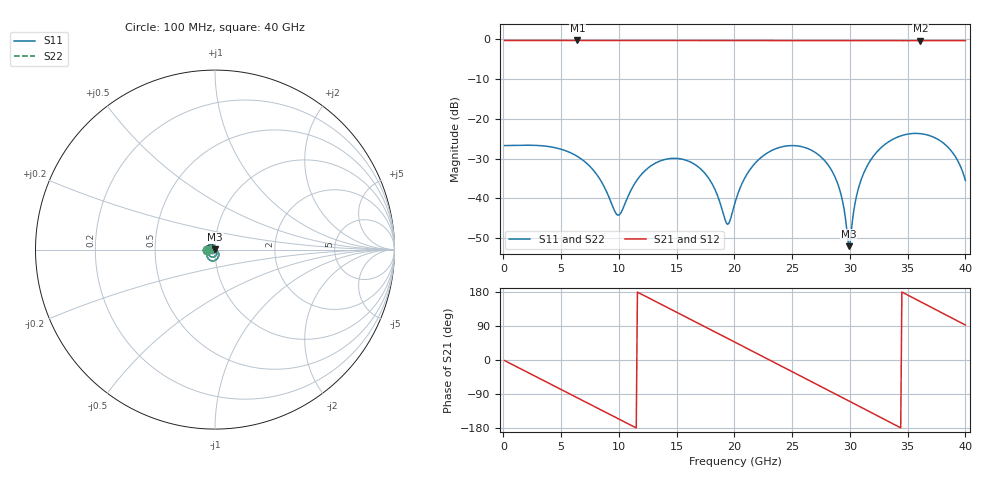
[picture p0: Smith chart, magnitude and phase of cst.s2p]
! thru_ts6_L1: 2×thru, L1, 8 mm
! stackup: ThunderScope Rev5.3 6-layer (FR408HR / FR-4, from the board file)
! ports: 1, 2
! CST Studio Suite 2025.5 Release from 2025-05-30, time domain (FIT, hexahedral, PBA), 80301 mesh cells, 18 s
! mesh: {'lpw': 20, 'lpb': 20, 'minstep': 0.0, 'ratio': 20}; ports: port 1 (face); port 2 (face)
! interpolated from CST's 1001 samples to the case grid
# Hz S RI R 50
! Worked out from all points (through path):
!   400 points, 100 MHz to 40 GHz, reference 50 ohm
!   highest |S21| = -0.41 dB at 6.4 GHz (marker M1); lowest = -0.5 dB at 36.1 GHz (marker M2)
!   group delay of S21, straight-line fit = 43.6 ps
!   lowest |S11| = -52.0 dB at 29.9 GHz (marker M3), VSWR 1.01, Z = 50 + j0.248 ohm
!   |S11| at or under -10 dB: start of sweep to end of sweep
!   |S22| runs from -52.0 to -23.7 dB; largest |S21 - S12| = 6.3e-07
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1e8  -0.046 0.000406  0.9537 -0.0259  0.9537 -0.0259  -0.046 0.000406
3.6e9  -0.0412 0.0188  0.5324 -0.7916  0.5324 -0.7916  -0.0412 0.0188
6.4e9  -0.0183 0.0282  -0.1613 -0.9405  -0.1613 -0.9405  -0.0183 0.0282
6.8e9  -0.014 0.0274  -0.2625 -0.9174  -0.2625 -0.9174  -0.014 0.0274
9.9e9  0.00616 0.000113  -0.8598 -0.4129  -0.8598 -0.4129  0.00616 0.000113
1.34e10  -0.0195 -0.0212  -0.8336 0.4617  -0.8336 0.4617  -0.0195 -0.0212
1.68e10  -0.0247 0.0052  -0.1307 0.944  -0.1307 0.944  -0.0247 0.0052
1.82e10  -0.0102 0.0096  0.2314 0.9246  0.2314 0.9246  -0.0102 0.0096
1.94e10  0.00306 0.00362  0.5171 0.8004  0.5171 0.8004  0.00306 0.00362
2.01e10  0.00858 -0.00365  0.66 0.687  0.66 0.687  0.00858 -0.00365
2.14e10  0.0108 -0.0209  0.8575 0.4136  0.8575 0.4136  0.0108 -0.0209
2.34e10  -0.00681 -0.0404  0.9465 -0.0932  0.9465 -0.0932  -0.00681 -0.0404
2.67e10  -0.0361 -0.0171  0.5118 -0.8013  0.5118 -0.8013  -0.0361 -0.0171
2.89e10  -0.0154 0.00418  -0.0348 -0.9507  -0.0348 -0.9507  -0.0154 0.00418
2.95e10  -0.00587 0.00423  -0.1909 -0.9321  -0.1909 -0.9321  -0.00587 0.00423
2.99e10  0.000458 0.00248  -0.2923 -0.9053  -0.2923 -0.9053  0.000458 0.00248
3.05e10  0.00913 -0.00277  -0.4374 -0.8447  -0.4374 -0.8447  0.00913 -0.00277
3.11e10  0.0159 -0.0107  -0.5705 -0.7608  -0.5705 -0.7608  0.0159 -0.0107
3.34e10  0.0131 -0.0501  -0.9089 -0.2739  -0.9089 -0.2739  0.0131 -0.0501
3.61e10  -0.0315 -0.0566  -0.8529 0.4136  -0.8529 0.4136  -0.0315 -0.0566
3.85e10  -0.0404 -0.0166  -0.4176 0.8517  -0.4176 0.8517  -0.0404 -0.0166
4e10  -0.0167 0.000872  -0.0375 0.9485  -0.0375 0.9485  -0.0167 0.000872
